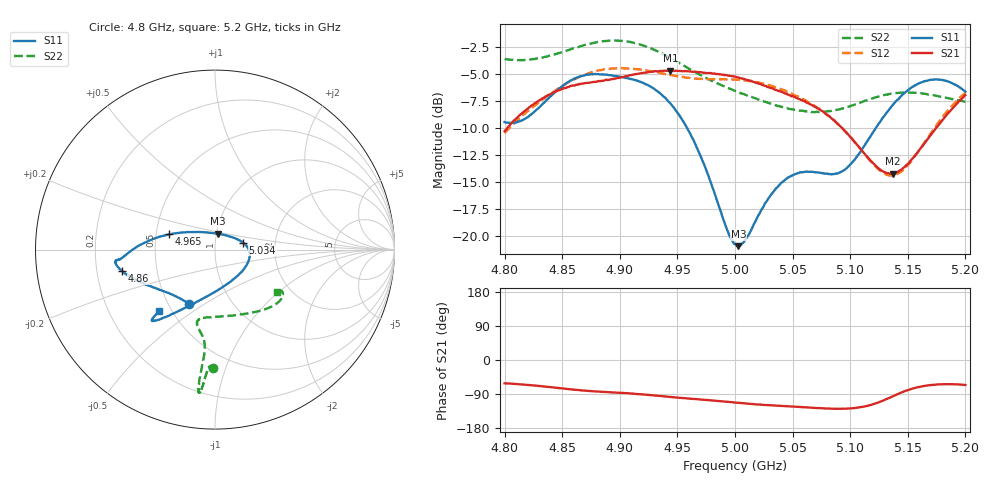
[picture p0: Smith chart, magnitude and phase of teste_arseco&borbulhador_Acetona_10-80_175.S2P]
! Network Analyzer HP8722D
! Hewlett-Packard
! Data name: Linha & Wilkinson
! Saver's name: Rodrigo Anjos
! Comments: Teste da utilização de aquisição
! continua pelo VNA HP8722D
! Time and date: 17/4/2025 15:49
!  Frequency  S11  S21  S12  S22
# HZ  S  MA R 50
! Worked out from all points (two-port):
!   401 points, 4.8 GHz to 5.2 GHz, reference 50 ohm
!   highest |S21| = -4.71 dB at 4.944 GHz (marker M1); lowest = -14.3 dB at 5.137 GHz (marker M2)
!   |S21| within 3 dB of the highest: 4.827 GHz to 5.063 GHz (236.1 MHz wide, 4.78 % of centre); 5.193193 GHz to end of sweep
!   lowest |S11| = -21.0 dB at 5.003 GHz (marker M3), VSWR 1.20, Z = 50.7 + j9 ohm
!   |S11| at or under -10 dB: 4.958 GHz to 5.122 GHz (164.2 MHz wide, 3.26 % of centre)
!   |S22| runs from -8.6 to -1.9 dB; largest |S21 - S12| = 0.87
!   S11 on the Smith chart (normalised r, x): 4.8 GHz: 0.63, -0.43; 4.86 GHz: 0.31, -0.10; 4.965 GHz: 0.59, +0.11; 5.034 GHz: 1.37, +0.11; 5.2 GHz: 0.43, -0.37
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4.8e9  0.3356 -115.3  0.3045 -61.6  0.2982 -175.9  0.657 -90.8
4.819e9  0.3514 -135.5  0.3833 -65.5  0.3726 -175.0  0.6517 -92.4
4.86e9  0.5324 -167.0  0.4959 -78.1  0.528 -178.3  0.7365 -94.7
4.867e9  0.5491 -169.7  0.5057 -80.4  0.5491 -179.6  0.7564 -95.1
4.9e9  0.5447 -173.9  0.5381 -86.5  0.595 174.2  0.7981 -96.4
4.934e9  0.4609 -179.7  0.5778 -94.8  0.5685 170.9  0.7075 -96.8
4.944e9  0.4089 175.7  0.5816 -97.5  0.5536 170.9  0.6656 -96.4
4.965e9  0.2693 161.6  0.5745 -103.1  0.5338 172.7  0.5732 -95.9
4.993e9  0.1068 116.6  0.5531 -110.2  0.5286 174.9  0.4852 -98.4
5e9  0.09122 92.0  0.5453 -112.2  0.5291 174.9  0.4681 -99.8
5.003e9  0.08931 80.4  0.5399 -113.0  0.5276 174.9  0.4613 -100.7
5.01e9  0.09728 55.8  0.526 -114.6  0.5225 174.8  0.4464 -101.9
5.034e9  0.1613 13.9  0.4756 -120.2  0.489 173.7  0.4037 -103.5
5.048e9  0.188 0.3  0.4451 -122.5  0.4581 173.0  0.3861 -99.6
5.067e9  0.1975 -19.9  0.4017 -125.8  0.4064 172.6  0.3738 -89.4
5.096e9  0.2032 -70.4  0.3027 -128.5  0.3027 174.5  0.3921 -66.7
5.122e9  0.3136 -110.0  0.2107 -114.8  0.2085 -169.4  0.4368 -49.1
5.134e9  0.385 -119.4  0.1936 -99.9  0.1898 -152.9  0.453 -43.1
5.137e9  0.4026 -121.1  0.1932 -95.8  0.1903 -148.1  0.455 -41.9
5.15e9  0.4702 -126.7  0.2148 -79.5  0.2114 -129.2  0.4602 -37.1
5.17e9  0.5268 -131.0  0.2924 -66.1  0.2977 -112.2  0.4493 -32.7
5.2e9  0.4639 -132.1  0.4469 -65.8  0.4586 -107.9  0.4163 -34.3
